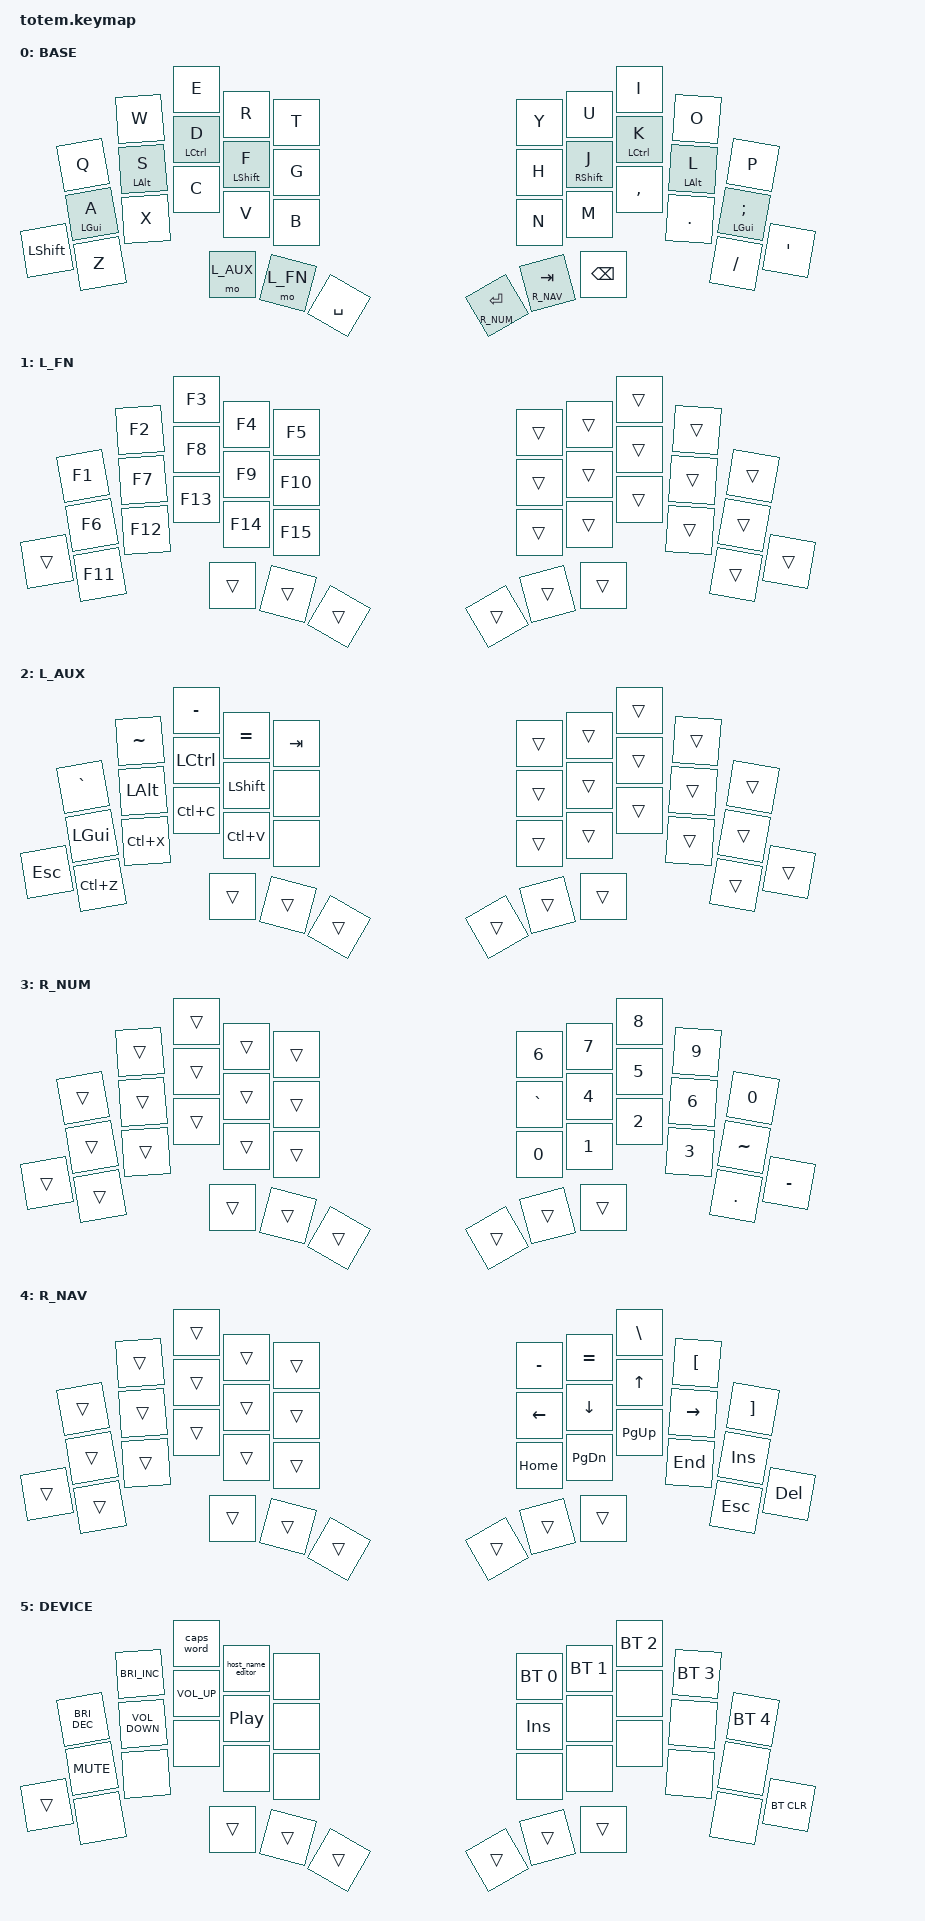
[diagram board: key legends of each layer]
#include <behaviors.dtsi>
#include <dt-bindings/zmk/bt.h>
#include <dt-bindings/zmk/keys.h>

#define BASE   0
#define L_FN   1
#define L_AUX  2
#define R_NUM  3
#define R_NAV  4
#define DEVICE 5

// Positions follow the 38-key matrix transform, not a rectangular 36-key layout.
#define LEFT_KEYS  0 1 2 3 4 10 11 12 13 14 20 21 22 23 24 25
#define RIGHT_KEYS 5 6 7 8 9 15 16 17 18 19 26 27 28 29 30 31
#define THUMB_KEYS 32 33 34 35 36 37

/ {
    combos {
        compatible = "zmk,combos";

        // Only the two left layer thumbs: normal left/right layer chords remain independent.
        combo_device {
            timeout-ms = <50>;
            key-positions = <32 33>;
            bindings = <&mo DEVICE>;
        };
    };

    behaviors {
        host_name_editor: host_name_editor {
            compatible = "totem,host-name-editor";
            #binding-cells = <0>;
            display-name = "Edit BT host name (hold)";
        };

        hml: home_row_left {
            compatible = "zmk,behavior-hold-tap";
            #binding-cells = <2>;
            flavor = "tap-preferred";
            tapping-term-ms = <200>;
            quick-tap-ms = <175>;
            require-prior-idle-ms = <150>;
            bindings = <&kp>, <&kp>;
            hold-trigger-key-positions = <RIGHT_KEYS THUMB_KEYS>;
            hold-trigger-on-release;
        };

        hmr: home_row_right {
            compatible = "zmk,behavior-hold-tap";
            #binding-cells = <2>;
            flavor = "tap-preferred";
            tapping-term-ms = <200>;
            quick-tap-ms = <175>;
            require-prior-idle-ms = <150>;
            bindings = <&kp>, <&kp>;
            hold-trigger-key-positions = <LEFT_KEYS THUMB_KEYS>;
            hold-trigger-on-release;
        };

        // Separate from HRMs: Enter/Tab must be able to open a layer immediately
        // after typing. Repeated taps must not lock out the next layer hold.
        // Another key-down selects the layer even if the thumb is released first.
        thumb_lt: thumb_layer_tap {
            compatible = "zmk,behavior-hold-tap";
            #binding-cells = <2>;
            flavor = "hold-preferred";
            tapping-term-ms = <200>;
            quick-tap-ms = <0>;
            bindings = <&mo>, <&kp>;
        };
    };

    keymap {
        compatible = "zmk,keymap";

        base {
            display-name = "BASE";
            bindings = <
                                &kp Q                 &kp W                 &kp E              &kp R                &kp T            &kp Y                  &kp U                &kp I               &kp O             &kp P
                                &hml LEFT_GUI A       &hml LEFT_ALT S       &hml LEFT_CONTROL D &hml LEFT_SHIFT F   &kp G            &kp H                  &hmr RIGHT_SHIFT J   &hmr LEFT_CONTROL K &hmr LEFT_ALT L   &hmr LEFT_GUI SEMI
                &kp LEFT_SHIFT  &kp Z                 &kp X                 &kp C              &kp V                &kp B            &kp N                  &kp M                &kp COMMA           &kp DOT           &kp FSLH                &kp APOS
                                                                            &mo L_AUX          &mo L_FN             &kp SPACE        &thumb_lt R_NUM ENTER  &thumb_lt R_NAV TAB  &kp BACKSPACE
            >;
        };

        // A left layer never overrides the right half, including its base HRMs.
        left_function {
            display-name = "L_FN";
            bindings = <
                                &kp F1                &kp F2                &kp F3             &kp F4               &kp F5           &trans                 &trans               &trans              &trans            &trans
                                &kp F6                &kp F7                &kp F8             &kp F9               &kp F10          &trans                 &trans               &trans              &trans            &trans
                &trans          &kp F11               &kp F12               &kp F13            &kp F14              &kp F15          &trans                 &trans               &trans              &trans            &trans                  &trans
                                                                            &trans             &trans               &trans           &trans                 &trans               &trans
            >;
        };

        left_auxiliary {
            display-name = "L_AUX";
            bindings = <
                                &kp GRAVE             &kp TILDE             &kp MINUS          &kp EQUAL            &kp TAB          &trans                 &trans               &trans              &trans            &trans
                                &kp LEFT_GUI          &kp LEFT_ALT          &kp LEFT_CONTROL   &kp LEFT_SHIFT       &none            &trans                 &trans               &trans              &trans            &trans
                &kp ESCAPE      &kp LC(Z)             &kp LC(X)             &kp LC(C)          &kp LC(V)            &none            &trans                 &trans               &trans              &trans            &trans                  &trans
                                                                            &trans             &trans               &trans           &trans                 &trans               &trans
            >;
        };

        // A right layer never overrides the left half. Digits and arrows are
        // ordinary key presses so holding them continues to repeat normally.
        right_number {
            display-name = "R_NUM";
            bindings = <
                                &trans                &trans                &trans             &trans               &trans           &kp N6                 &kp N7               &kp N8              &kp N9            &kp N0
                                &trans                &trans                &trans             &trans               &trans           &kp GRAVE              &kp N4               &kp N5              &kp N6            &kp TILDE
                &trans          &trans                &trans                &trans             &trans               &trans           &kp N0                 &kp N1               &kp N2              &kp N3            &kp DOT                 &kp MINUS
                                                                            &trans             &trans               &trans           &trans                 &trans               &trans
            >;
        };

        right_navigation {
            display-name = "R_NAV";
            bindings = <
                                &trans                &trans                &trans             &trans               &trans           &kp MINUS              &kp EQUAL            &kp BACKSLASH       &kp LEFT_BRACKET  &kp RIGHT_BRACKET
                                &trans                &trans                &trans             &trans               &trans           &kp LEFT_ARROW         &kp DOWN_ARROW       &kp UP_ARROW        &kp RIGHT_ARROW   &kp INSERT
                &trans          &trans                &trans                &trans             &trans               &trans           &kp HOME               &kp PAGE_DOWN        &kp PAGE_UP         &kp END           &kp ESCAPE              &kp DELETE
                                                                            &trans             &trans               &trans           &trans                 &trans               &trans
            >;
        };

        // Deliberate global exception: chord the two left layer thumbs.
        // Ordinary left/right layer combinations never open device settings.
        device {
            display-name = "DEVICE";
            bindings = <
                                &kp C_BRIGHTNESS_DEC  &kp C_BRIGHTNESS_INC  &caps_word         &host_name_editor    &none            &bt BT_SEL 0           &bt BT_SEL 1         &bt BT_SEL 2        &bt BT_SEL 3      &bt BT_SEL 4
                                &kp K_MUTE            &kp C_VOLUME_DOWN     &kp C_VOLUME_UP    &kp C_PLAY_PAUSE     &none            &kp INSERT             &none                &none               &none             &none
                &trans          &none                 &none                 &none              &none                &none            &none                  &none                &none               &none             &none                   &bt BT_CLR
                                                                            &trans             &trans               &trans           &trans                 &trans               &trans
            >;
        };

        extra1 {
            display-name = "extra1";
            status = "reserved";
        };

        extra2 {
            display-name = "extra2";
            status = "reserved";
        };

        extra3 {
            display-name = "extra3";
            status = "reserved";
        };
    };
};
